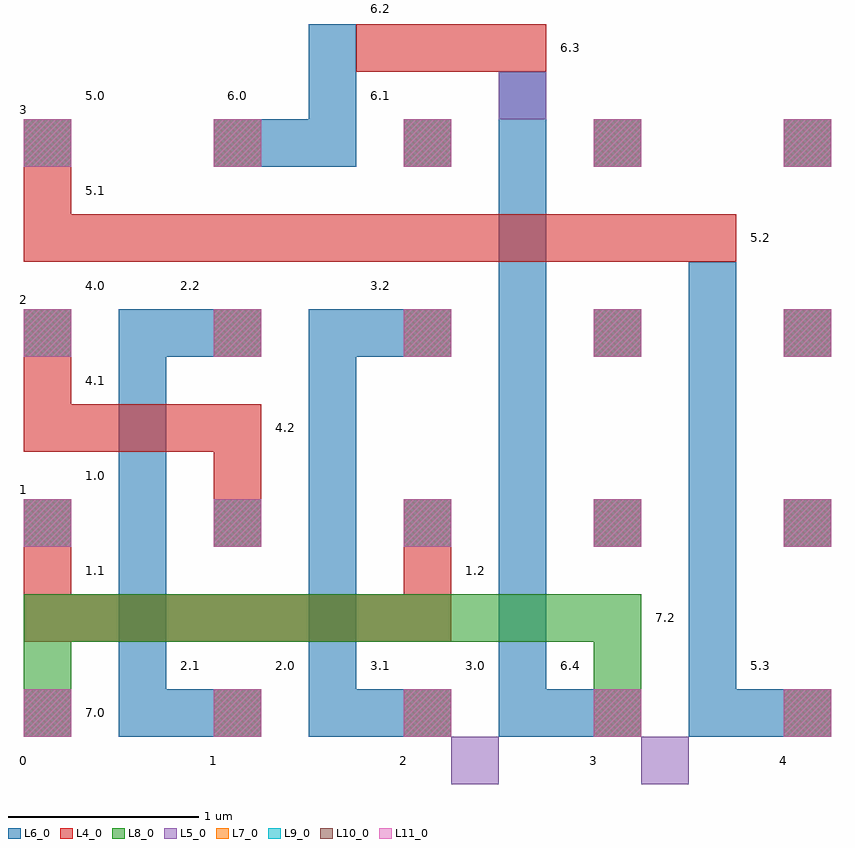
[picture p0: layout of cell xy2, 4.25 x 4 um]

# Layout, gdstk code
import gdstk
lib = gdstk.Library(unit=1e-6, precision=1e-09)
def R(c, l, rs):  # rectangles x0, y0, x1, y1
    for r in rs: c.add(gdstk.rectangle(r[:2], r[2:], *l))
def A(c, l, x, y, w, h, nx, ny, dx, dy):  # array of equal rectangles
    R(c, l, [(x+i*dx, y+j*dy, x+i*dx+w, y+j*dy+h) for i in range(nx) for j in range(ny)])
L4_0 = (4, 0)
L5_0 = (5, 0)
L6_0 = (6, 0)
L7_0 = (7, 0)
L8_0 = (8, 0)
L9_0 = (9, 0)
L10_0 = (10, 0)
L11_0 = (11, 0)

xy2 = lib.new_cell('xy2')
A(xy2, L4_0, 0, 0, 0.25, 0.25, 5, 4, 1, 1)
A(xy2, L4_0, 0, 0.5, 0.25, 0.75, 1, 3, 0, 1)
R(xy2, L4_0, [(0.25,0.5,2.25,0.75), (2,0.75,2.25,1.25), (1,1,1.25,1.5), (0.25,1.5,1.25,1.75), (0.25,2.5,3.75,2.75), (1.75,3.5,2.75,3.75)])
A(xy2, L5_0, 0, 0, 0.25, 0.25, 5, 4, 1, 1)
R(xy2, L5_0, [(2.25,-0.25,2.5,0), (3.25,-0.25,3.5,0), (2.5,3.25,2.75,3.5)])
A(xy2, L6_0, 0, 0, 0.25, 0.25, 5, 4, 1, 1)
R(xy2, L6_0, [(0.5,0,1.25,0.25), (1.5,0,2.25,0.25), (2.5,0,2.75,3.5), (2.75,0,3.25,0.25), (3.5,0,3.75,2.5), (3.75,0,4.25,0.25), (0.5,0.25,0.75,2.25), (1.5,0.25,1.75,2.25), (0.75,2,1.25,2.25), (1.75,2,2.25,2.25), (1,3,1.75,3.25), (1.5,3.25,1.75,3.75)])
A(xy2, L7_0, 0, 0, 0.25, 0.25, 5, 4, 1, 1)
A(xy2, L8_0, 0, 0, 0.25, 0.25, 5, 4, 1, 1)
R(xy2, L8_0, [(0,0,0.25,0.75), (3,0,3.25,0.5), (0.25,0.5,3.25,0.75)])
A(xy2, L9_0, 0, 0, 0.25, 0.25, 5, 4, 1, 1)
A(xy2, L10_0, 0, 0, 0.25, 0.25, 5, 4, 1, 1)
A(xy2, L11_0, 0, 0, 0.25, 0.25, 5, 4, 1, 1)
xy2.add(gdstk.Label('0', (0,-0.125), layer=0, texttype=0))
xy2.add(gdstk.Label('1', (1,-0.125), layer=0, texttype=0))
xy2.add(gdstk.Label('2', (2,-0.125), layer=0, texttype=0))
xy2.add(gdstk.Label('3', (3,-0.125), layer=0, texttype=0))
xy2.add(gdstk.Label('4', (4,-0.125), layer=0, texttype=0))
xy2.add(gdstk.Label('1', (0,1.3), layer=0, texttype=0))
xy2.add(gdstk.Label('2', (0,2.3), layer=0, texttype=0))
xy2.add(gdstk.Label('3', (0,3.3), layer=0, texttype=0))
xy2.add(gdstk.Label('1.0', (0.375,1.375), layer=0, texttype=0))
xy2.add(gdstk.Label('1.1', (0.375,0.875), layer=0, texttype=0))
xy2.add(gdstk.Label('1.2', (2.375,0.875), layer=0, texttype=0))
xy2.add(gdstk.Label('2.0', (1.375,0.375), layer=0, texttype=0))
xy2.add(gdstk.Label('2.1', (0.875,0.375), layer=0, texttype=0))
xy2.add(gdstk.Label('2.2', (0.875,2.375), layer=0, texttype=0))
xy2.add(gdstk.Label('3.0', (2.375,0.375), layer=0, texttype=0))
xy2.add(gdstk.Label('3.1', (1.875,0.375), layer=0, texttype=0))
xy2.add(gdstk.Label('3.2', (1.875,2.375), layer=0, texttype=0))
xy2.add(gdstk.Label('4.0', (0.375,2.375), layer=0, texttype=0))
xy2.add(gdstk.Label('4.1', (0.375,1.875), layer=0, texttype=0))
xy2.add(gdstk.Label('4.2', (1.375,1.625), layer=0, texttype=0))
xy2.add(gdstk.Label('5.0', (0.375,3.375), layer=0, texttype=0))
xy2.add(gdstk.Label('5.1', (0.375,2.875), layer=0, texttype=0))
xy2.add(gdstk.Label('5.2', (3.875,2.625), layer=0, texttype=0))
xy2.add(gdstk.Label('5.3', (3.875,0.375), layer=0, texttype=0))
xy2.add(gdstk.Label('6.0', (1.125,3.375), layer=0, texttype=0))
xy2.add(gdstk.Label('6.1', (1.875,3.375), layer=0, texttype=0))
xy2.add(gdstk.Label('6.2', (1.875,3.875), layer=0, texttype=0))
xy2.add(gdstk.Label('6.3', (2.875,3.625), layer=0, texttype=0))
xy2.add(gdstk.Label('6.4', (2.875,0.375), layer=0, texttype=0))
xy2.add(gdstk.Label('7.0', (0.375,0.125), layer=0, texttype=0))
xy2.add(gdstk.Label('7.1', (0.375,0.875), layer=0, texttype=0))
xy2.add(gdstk.Label('7.2', (3.375,0.625), layer=0, texttype=0))

lib.write_gds('xy2.gds')
